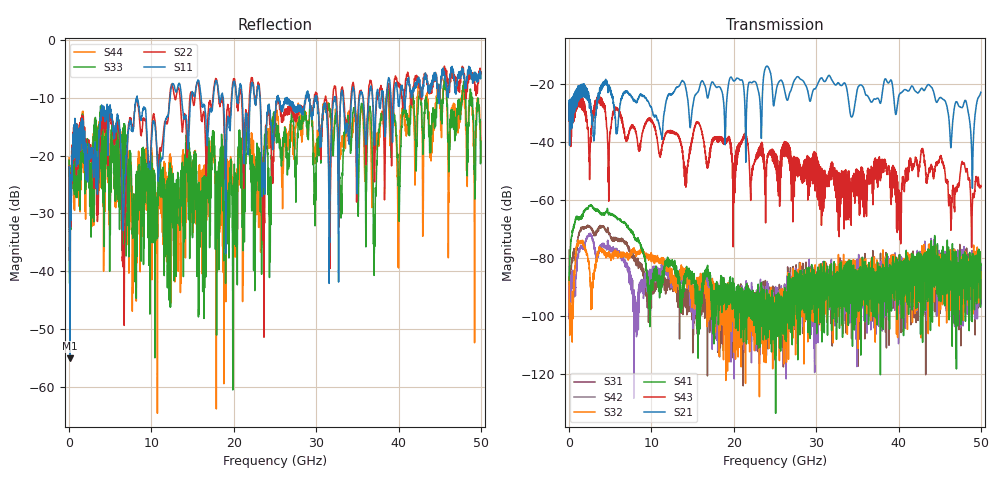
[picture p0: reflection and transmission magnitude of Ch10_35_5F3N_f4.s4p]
!Agilent Technologies,N5247A,US51170199,A.09.90.13
!Agilent N5247A: A.09.90.13
!Date: Wednesday, December 16, 2015 12:37:13
!Correction: S11(Full 4 Port(1,2,3,4))
!S12(Full 4 Port(1,2,3,4))
!S13(Full 4 Port(1,2,3,4))
!S14(Full 4 Port(1,2,3,4))
!S21(Full 4 Port(1,2,3,4))
!S22(Full 4 Port(1,2,3,4))
!S23(Full 4 Port(1,2,3,4))
!S24(Full 4 Port(1,2,3,4))
!S31(Full 4 Port(1,2,3,4))
!S32(Full 4 Port(1,2,3,4))
!S33(Full 4 Port(1,2,3,4))
!S34(Full 4 Port(1,2,3,4))
!S41(Full 4 Port(1,2,3,4))
!S42(Full 4 Port(1,2,3,4))
!S43(Full 4 Port(1,2,3,4))
!S44(Full 4 Port(1,2,3,4))
!S4P File: Measurements: <S11,S12,S13,S14>,
!<S21,S22,S23,S24>,
!<S31,S32,S33,S34>,
!<S41,S42,S43,S44>:
# Hz S  dB  R 50
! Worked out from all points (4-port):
!   3201 points, 10 MHz to 50 GHz, reference 50 ohm
!   strongest paths, dB at 10 MHz, 12.51 GHz, 25 GHz, 37.5 GHz, 50 GHz:
!     S21: -32.5, -23.4, -24.9, -24.9, -22.8
!     S43: -32.9, -36.1, -44.0, -46.1, -55.0
!     S41: -87.7, -81.3, -97.3, -86.6, -82.6
!     S32: -86.8, -86.9, -102.3, -83.6, -87.2
!     S42: -93.8, -87.4, -97.8, -95.4, -96.1
!     S31: -77.4, -88.4, -93.5, -82.6, -88.4
!   lowest |S11| = -55.1 dB at 135 MHz (marker M1), VSWR 1.00, Z = 50 + j0.17 ohm
!   |S11| at or under -10 dB: start of sweep to 8.229 GHz; 8.278 GHz to 12.26 GHz (3.979 GHz wide, 38.8 % of centre); 26.46 GHz to 28.71 GHz (2.242 GHz wide, 8.13 % of centre)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
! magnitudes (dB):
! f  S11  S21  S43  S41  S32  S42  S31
! 10 MHz  -22.0  -32.5  -32.9  -87.7  -86.8  -93.8  -77.4
! 135 MHz  -55.1  -32.8  -35.2  -78.3  -95.6  -94.2  -88.3
! 2.65 GHz  -20.4  -29.8  -38.3  -61.7  -91.4  -72.5  -69.6
! 6.634 GHz  -30.8  -23.3  -35.5  -67.8  -78.2  -81.3  -74.8
! 24.05 GHz  -12.5  -13.8  -46.0  -99.8  -100.3  -102.9  -96.3
! 48.94 GHz  -6.2  -51.9  -63.9  -96.2  -85.3  -91.5  -82.4
! 50 GHz  -5.6  -22.8  -55.0  -82.6  -87.2  -96.1  -88.4
